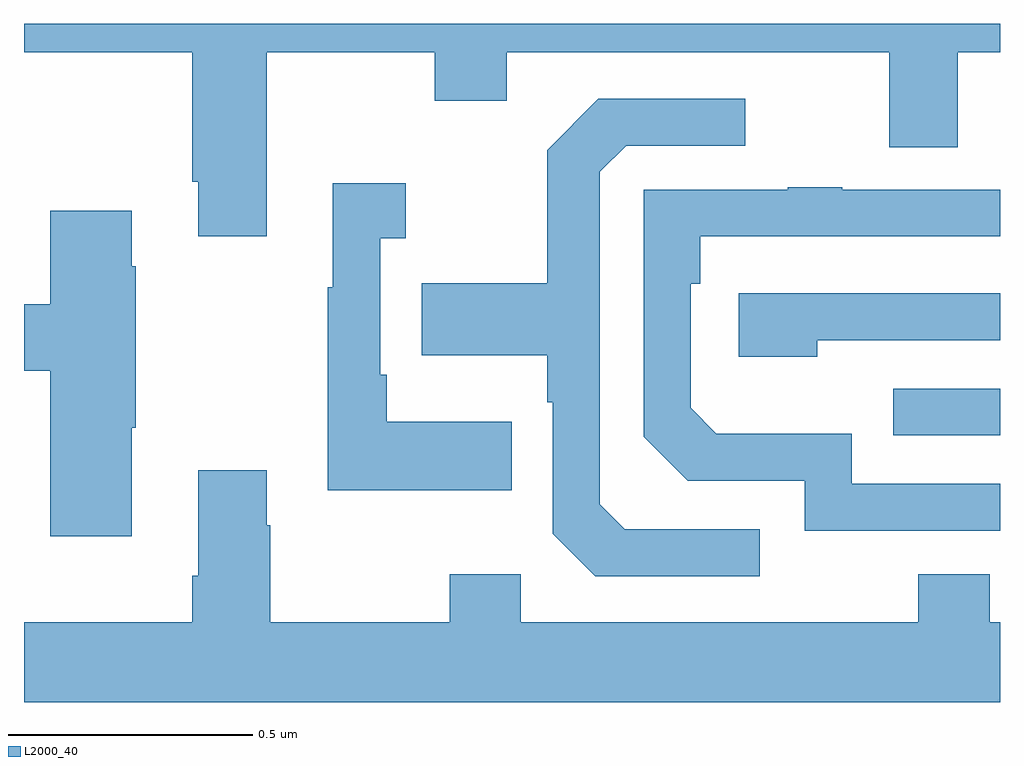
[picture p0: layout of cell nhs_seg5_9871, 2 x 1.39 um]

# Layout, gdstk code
import gdstk
lib = gdstk.Library(unit=1e-6, precision=1e-09)
def R(c, l, rs):  # rectangles x0, y0, x1, y1
    for r in rs: c.add(gdstk.rectangle(r[:2], r[2:], *l))
def P(c, l, *ps):  # polygons
    for p in ps: c.add(gdstk.Polygon(p, *l))
L2000_40 = (2000, 40)

nhs_seg5_9871 = lib.new_cell('nhs_seg5_9871')
R(nhs_seg5_9871, L2000_40, [(240.781,875.955,241,876.051)])
P(nhs_seg5_9871, L2000_40, [(239.497,876.74),(239.842,876.74),(239.842,876.641),(239.989,876.641),(239.989,876.74),(240.773,876.74),(240.773,876.546),(240.913,876.546),(240.913,876.74),(241,876.74),(241,876.799),(239,876.799),(239,876.74),(239.345,876.74),(239.345,876.475),(239.357,876.475),(239.357,876.363),(239.497,876.363)],
  [(240.508,875.763),(240.231,875.763),(240.18,875.814),(240.18,876.495),(240.234,876.549),(240.478,876.549),(240.478,876.645),(240.177,876.645),(240.072,876.539),(240.072,876.267),(239.815,876.267),(239.815,876.119),(240.072,876.119),(240.072,876.023),(240.084,876.023),(240.084,875.754),(240.171,875.667),(240.508,875.667)],
  [(239.999,875.983),(239.743,875.983),(239.743,876.079),(239.73,876.079),(239.73,876.359),(239.782,876.359),(239.782,876.472),(239.633,876.472),(239.633,876.259),(239.622,876.259),(239.622,875.843),(239.999,875.843)],
  [(241,875.856),(240.696,875.856),(240.696,875.959),(240.419,875.959),(240.366,876.012),(240.366,876.266),(240.386,876.266),(240.386,876.363),(241,876.363),(241,876.459),(240.677,876.459),(240.677,876.464),(240.565,876.464),(240.565,876.459),(240.27,876.459),(240.27,875.952),(240.36,875.862),(240.6,875.862),(240.6,875.76),(241,875.76)],
  [(239.221,875.971),(239.229,875.971),(239.229,876.302),(239.221,876.302),(239.221,876.415),(239.054,876.415),(239.054,876.224),(239,876.224),(239,876.088),(239.054,876.088),(239.054,875.748),(239.221,875.748)],
  [(240.626,876.15),(241,876.15),(241,876.246),(240.465,876.246),(240.465,876.116),(240.626,876.116)],
  [(239.872,875.671),(239.872,875.572),(239.505,875.572),(239.505,875.771),(239.497,875.771),(239.497,875.884),(239.357,875.884),(239.357,875.668),(239.345,875.668),(239.345,875.572),(239,875.572),(239,875.408),(241,875.408),(241,875.572),(240.979,875.572),(240.979,875.671),(240.832,875.671),(240.832,875.572),(240.018,875.572),(240.018,875.671)])

lib.write_gds('nhs_seg5_9871.gds')
